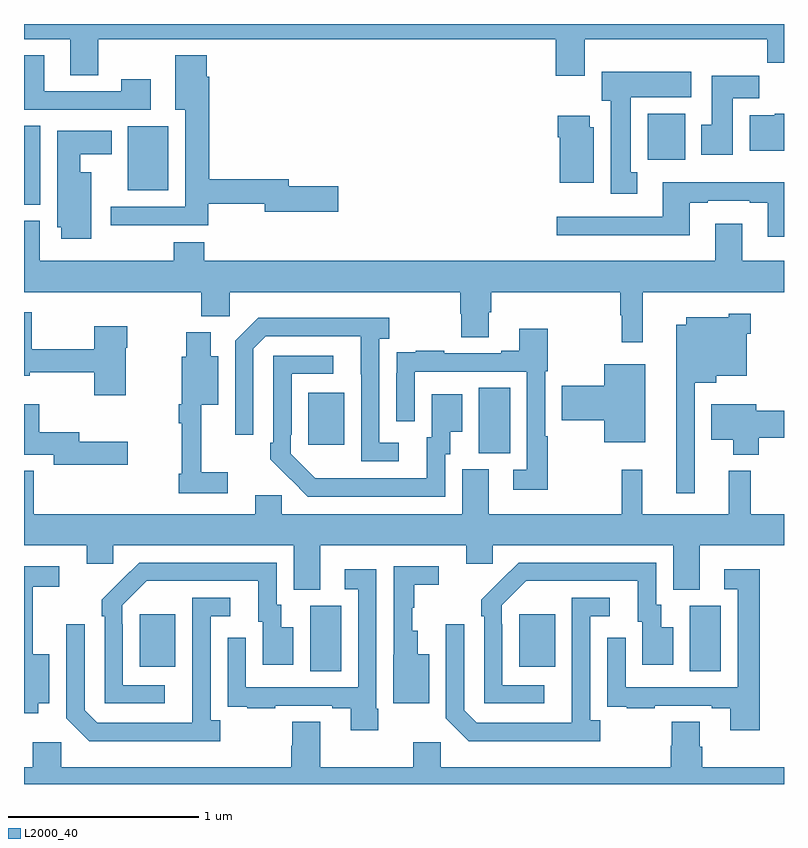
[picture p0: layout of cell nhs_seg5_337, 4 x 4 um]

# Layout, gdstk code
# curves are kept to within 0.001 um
import gdstk
lib = gdstk.Library(unit=1e-6, precision=1e-09)
def R(c, l, rs):  # rectangles x0, y0, x1, y1
    for r in rs: c.add(gdstk.rectangle(r[:2], r[2:], *l))
def P(c, l, *ps):  # polygons
    for p in ps: c.add(gdstk.Polygon(p, *l))
L2000_40 = (2000, 40)

nhs_seg5_337 = lib.new_cell('nhs_seg5_337')
R(nhs_seg5_337, L2000_40, [(132.506,893.392,132.67,893.736), (134.504,893.392,134.668,893.736), (131.609,893.417,131.797,893.692), (133.607,893.417,133.795,893.692), (133.394,894.541,133.558,894.884), (132.497,894.585,132.685,894.859), (131,895.849,131.086,896.264), (131.546,895.925,131.758,896.26), (134.282,896.084,134.479,896.326)])
P(nhs_seg5_337, L2000_40, [(133.951,896.72),(134.911,896.72),(134.911,896.596),(135,896.596),(135,896.799),(131,896.799),(131,896.72),(131.243,896.72),(131.243,896.53),(131.391,896.53),(131.391,896.72),(133.799,896.72),(133.799,896.526),(133.951,896.526)],
  [(131.97,895.854),(132.266,895.854),(132.266,895.811),(132.655,895.811),(132.655,895.946),(132.394,895.946),(132.394,895.982),(131.975,895.982),(131.975,896.522),(131.962,896.522),(131.962,896.635),(131.795,896.635),(131.795,896.348),(131.849,896.348),(131.849,895.836),(131.457,895.836),(131.457,895.739),(131.97,895.739)],
  [(131.668,896.509),(131.512,896.509),(131.512,896.445),(131.107,896.445),(131.107,896.635),(131,896.635),(131,896.349),(131.668,896.349)],
  [(134.227,896.018),(134.194,896.018),(134.194,896.414),(134.512,896.414),(134.512,896.548),(134.042,896.548),(134.042,896.394),(134.087,896.394),(134.087,895.905),(134.227,895.905)],
  [(134.731,896.408),(134.87,896.408),(134.87,896.527),(134.621,896.527),(134.621,896.268),(134.564,896.268),(134.564,896.112),(134.731,896.112)],
  [(135,896.326),(134.952,896.326),(134.952,896.32),(134.819,896.32),(134.819,896.132),(135,896.132)],
  [(133.999,896.256),(133.978,896.256),(133.978,896.317),(133.808,896.317),(133.808,896.204),(133.82,896.204),(133.82,895.964),(133.999,895.964)],
  [(131.353,896.02),(131.296,896.02),(131.296,896.114),(131.461,896.114),(131.461,896.236),(131.174,896.236),(131.174,895.728),(131.195,895.728),(131.195,895.668),(131.353,895.668)],
  [(135,895.966),(134.363,895.966),(134.363,895.785),(133.803,895.785),(133.803,895.688),(134.503,895.688),(134.503,895.857),(134.599,895.857),(134.599,895.869),(134.819,895.869),(134.819,895.857),(134.915,895.857),(134.915,895.68),(135,895.68)],
  [(131.948,895.651),(131.788,895.651),(131.788,895.552),(131.083,895.552),(131.083,895.764),(131,895.764),(131,895.388),(131.933,895.388),(131.933,895.262),(132.084,895.262),(132.084,895.388),(133.295,895.388),(133.295,895.275),(133.3,895.275),(133.3,895.15),(133.447,895.15),(133.447,895.282),(133.46,895.282),(133.46,895.388),(134.137,895.388),(134.137,895.265),(134.145,895.265),(134.145,895.125),(134.256,895.125),(134.256,895.388),(135,895.388),(135,895.552),(134.779,895.552),(134.779,895.747),(134.639,895.747),(134.639,895.552),(131.948,895.552)],
  [(131.536,895.094),(131.544,895.094),(131.544,895.207),(131.371,895.207),(131.371,895.087),(131.041,895.087),(131.041,895.282),(131,895.282),(131,894.947),(131.029,894.947),(131.029,894.966),(131.371,894.966),(131.371,894.846),(131.536,894.846)],
  [(134.529,894.911),(134.644,894.911),(134.644,894.947),(134.803,894.947),(134.803,895.169),(134.825,895.169),(134.825,895.273),(134.709,895.273),(134.709,895.255),(134.486,895.255),(134.486,895.216),(134.432,895.216),(134.432,894.33),(134.529,894.33)],
  [(132.973,894.594),(132.87,894.594),(132.87,895.142),(132.922,895.142),(132.922,895.252),(132.232,895.252),(132.111,895.131),(132.111,894.636),(132.207,894.636),(132.207,895.089),(132.273,895.155),(132.773,895.155),(132.774,894.498),(132.973,894.498)],
  [(133.756,894.629),(133.743,894.629),(133.743,894.972),(133.756,894.972),(133.756,895.195),(133.607,895.195),(133.607,895.078),(133.511,895.078),(133.511,895.065),(133.211,895.065),(133.211,895.078),(133.063,895.078),(133.063,895.071),(132.961,895.071),(132.961,894.962),(132.96,894.962),(132.96,894.708),(133.056,894.708),(133.056,894.969),(133.647,894.969),(133.647,894.453),(133.575,894.453),(133.575,894.348),(133.756,894.348)],
  [(132.073,894.439),(131.933,894.439),(131.933,894.794),(132.022,894.794),(132.022,895.051),(131.983,895.051),(131.983,895.177),(131.854,895.177),(131.854,895.047),(131.83,895.047),(131.83,894.798),(131.815,894.798),(131.815,894.698),(131.83,894.698),(131.83,894.433),(131.815,894.433),(131.815,894.33),(132.073,894.33)],
  [(133.218,894.534),(133.243,894.534),(133.243,894.653),(133.306,894.653),(133.306,894.85),(133.145,894.85),(133.145,894.624),(133.121,894.624),(133.121,894.408),(132.534,894.409),(132.405,894.537),(132.405,894.637),(132.408,894.637),(132.408,894.957),(132.628,894.957),(132.628,895.053),(132.312,895.053),(132.312,894.595),(132.297,894.595),(132.297,894.507),(132.494,894.312),(133.218,894.312)],
  [(134.269,895.009),(134.054,895.009),(134.054,894.896),(133.83,894.896),(133.83,894.713),(134.054,894.713),(134.054,894.599),(134.269,894.599)],
  [(134.867,894.622),(135,894.622),(135,894.764),(134.854,894.764),(134.854,894.799),(134.618,894.799),(134.618,894.611),(134.732,894.611),(134.732,894.533),(134.867,894.533)],
  [(131.545,894.601),(131.29,894.601),(131.29,894.651),(131.08,894.651),(131.08,894.799),(131,894.799),(131,894.533),(131.156,894.533),(131.156,894.479),(131.545,894.479)],
  [(135,894.22),(134.825,894.22),(134.825,894.448),(134.708,894.448),(134.708,894.22),(134.255,894.22),(134.255,894.454),(134.145,894.454),(134.145,894.22),(133.447,894.22),(133.447,894.456),(133.307,894.456),(133.307,894.22),(132.357,894.22),(132.357,894.318),(132.218,894.318),(132.218,894.22),(131.051,894.22),(131.051,894.448),(131,894.448),(131,894.056),(131.33,894.056),(131.33,893.958),(131.469,893.958),(131.469,894.056),(132.419,894.056),(132.419,893.821),(132.559,893.821),(132.559,894.056),(133.328,894.056),(133.328,893.958),(133.467,893.958),(133.467,894.056),(134.417,894.056),(134.417,893.821),(134.557,893.821),(134.557,894.056),(135,894.056)],
  [(131.74,893.319),(131.52,893.319),(131.52,893.639),(131.517,893.639),(131.517,893.739),(131.646,893.868),(132.233,893.868),(132.233,893.652),(132.257,893.652),(132.257,893.427),(132.418,893.427),(132.418,893.623),(132.355,893.623),(132.355,893.742),(132.33,893.742),(132.33,893.964),(131.606,893.964),(131.409,893.769),(131.409,893.681),(131.424,893.681),(131.424,893.223),(131.74,893.223)],
  [(133.738,893.319),(133.518,893.319),(133.518,893.639),(133.515,893.639),(133.515,893.739),(133.644,893.868),(134.231,893.868),(134.231,893.652),(134.255,893.652),(134.255,893.427),(134.416,893.427),(134.416,893.623),(134.353,893.623),(134.353,893.742),(134.328,893.742),(134.328,893.964),(133.604,893.964),(133.407,893.769),(133.407,893.681),(133.422,893.681),(133.422,893.223),(133.738,893.223)],
  [(131.074,893.225),(131.134,893.225),(131.134,893.482),(131.045,893.482),(131.045,893.838),(131.185,893.838),(131.185,893.946),(131,893.946),(131,893.171),(131.074,893.171)],
  [(133.132,893.482),(133.072,893.482),(133.072,893.605),(133.043,893.605),(133.043,893.727),(133.054,893.727),(133.054,893.848),(133.183,893.848),(133.183,893.946),(132.945,893.946),(132.945,893.478),(132.944,893.478),(132.944,893.225),(133.132,893.225)],
  [(134.873,893.929),(134.685,893.929),(134.685,893.823),(134.757,893.823),(134.757,893.307),(134.166,893.307),(134.166,893.569),(134.07,893.569),(134.07,893.314),(134.071,893.314),(134.071,893.205),(134.173,893.205),(134.173,893.199),(134.321,893.199),(134.321,893.211),(134.621,893.211),(134.621,893.199),(134.717,893.199),(134.717,893.082),(134.873,893.082)],
  [(132.864,893.194),(132.855,893.194),(132.855,893.929),(132.687,893.929),(132.687,893.823),(132.759,893.823),(132.759,893.307),(132.168,893.307),(132.168,893.569),(132.072,893.569),(132.072,893.314),(132.073,893.314),(132.073,893.205),(132.175,893.205),(132.175,893.199),(132.323,893.199),(132.323,893.211),(132.623,893.211),(132.623,893.199),(132.719,893.199),(132.719,893.082),(132.864,893.082)],
  [(132.034,893.134),(131.982,893.134),(131.982,893.682),(132.085,893.682),(132.085,893.778),(131.886,893.778),(131.885,893.121),(131.385,893.121),(131.319,893.187),(131.319,893.641),(131.223,893.641),(131.223,893.145),(131.344,893.024),(132.034,893.024)],
  [(134.032,893.134),(133.98,893.134),(133.98,893.682),(134.083,893.682),(134.083,893.778),(133.884,893.778),(133.883,893.121),(133.383,893.121),(133.317,893.187),(133.317,893.641),(133.221,893.641),(133.221,893.145),(133.342,893.024),(134.032,893.024)],
  [(134.41,893.126),(134.41,893.001),(134.405,893.001),(134.405,892.888),(133.194,892.888),(133.194,893.02),(133.048,893.02),(133.048,892.888),(132.559,892.888),(132.559,893.126),(132.412,893.126),(132.412,893.001),(132.407,893.001),(132.407,892.888),(131.196,892.888),(131.196,893.02),(131.045,893.02),(131.045,892.888),(131,892.888),(131,892.799),(135,892.799),(135,892.888),(134.57,892.888),(134.57,892.994),(134.557,892.994),(134.557,893.126)])

lib.write_gds('nhs_seg5_337.gds')
